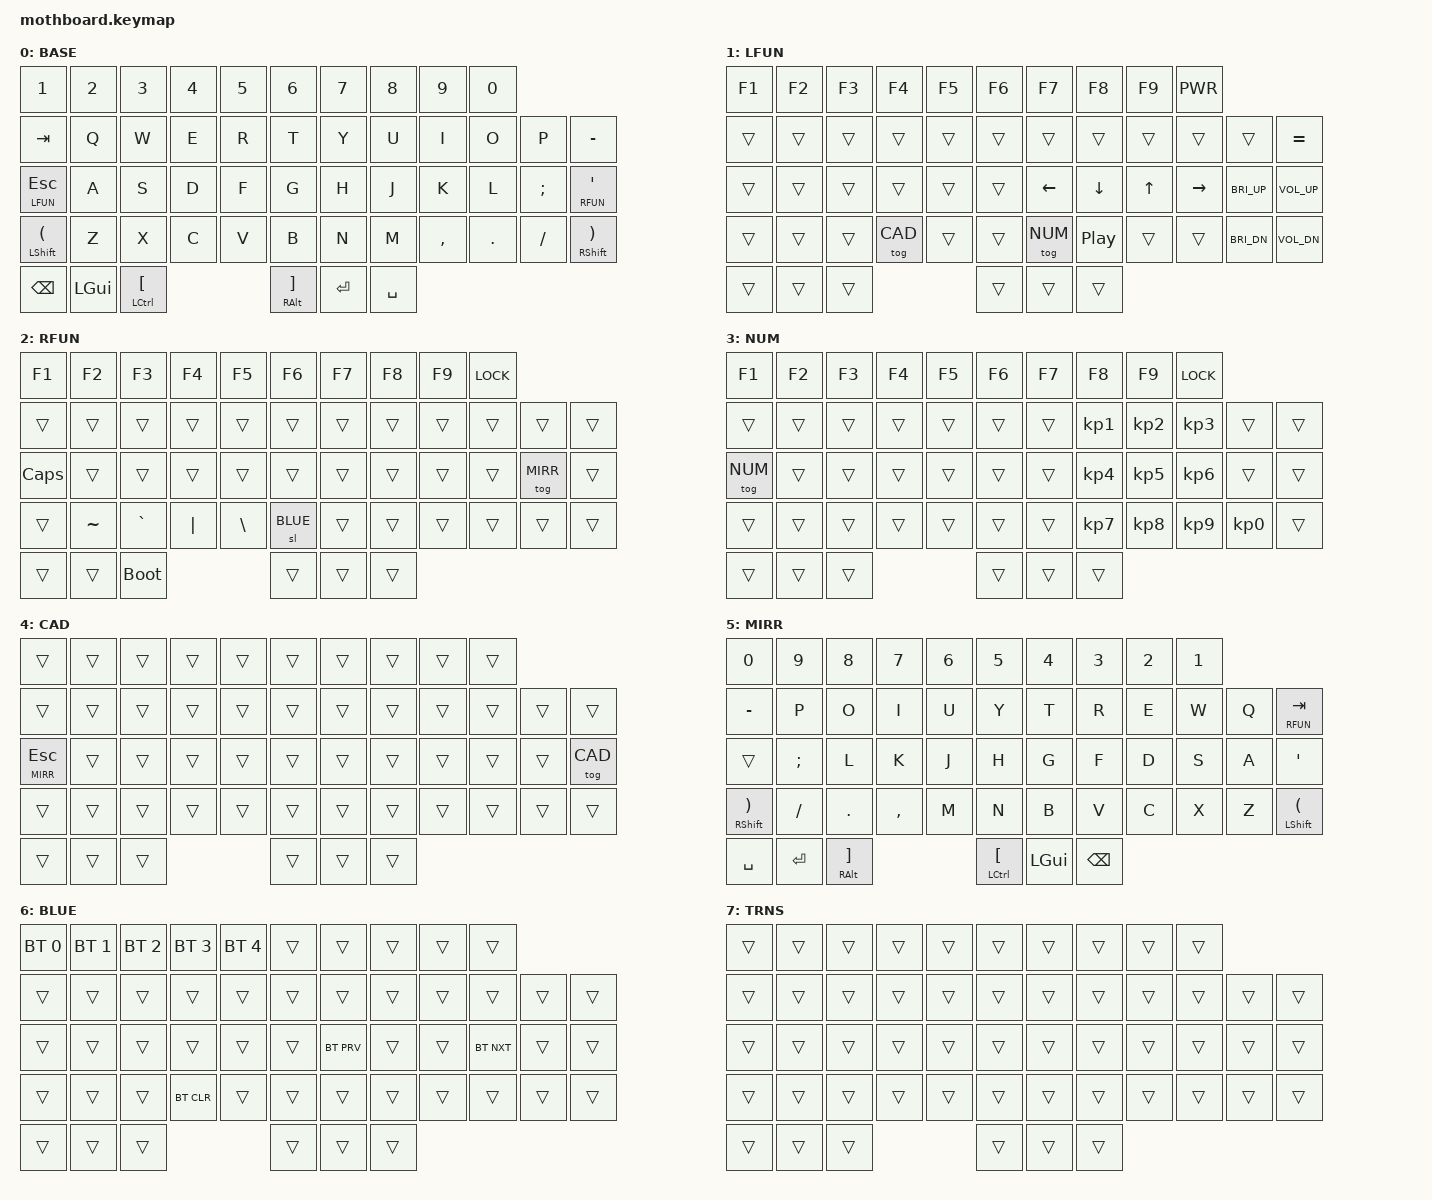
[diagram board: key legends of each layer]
#include <behaviors.dtsi>
#include <dt-bindings/zmk/keys.h>
#include <dt-bindings/zmk/bt.h>

#define BASE 0
#define LFUN 1
#define RFUN 2
#define NUM  3
#define CAD  4
#define MIRR 5
#define BLUE 6
#define TRNS 7


&sl {
    release-after-ms = <2000>;
};

/ {
	keymap {
		compatible = "zmk,keymap";

		default_layer {
			label="BASE";
			display-name="BASE";
			bindings = <
				&kp N1	&kp N2	&kp N3 	&kp N4	&kp N5		&kp N6	&kp N7	&kp N8	&kp N9	&kp N0
				&kp TAB	&kp Q	&kp W	&kp E	&kp R	&kp T		&kp Y	&kp U	&kp I	&kp O	&kp P 	&kp MINUS
				&lt LFUN ESC &kp A 	&kp S	&kp D	&kp F	&kp G		&kp H 	&kp J	&kp K	&kp L	&kp SEMI &lt RFUN APOS
				&mt LSHIFT LPAR &kp Z 	&kp X	&kp C	&kp V	&kp B		&kp N 	&kp M	&kp COMMA	&kp DOT	&kp FSLH &mt RSHIFT RPAR
				&kp BSPC &kp LGUI &mt LCTRL LBKT	&mt RALT RBKT &kp RET &kp SPACE
			>;
		};
		right_function_layer {
			label="LFUN";
			display-name="LFUN";
			bindings = <
				&kp F1	&kp F2	&kp F3 	&kp F4	&kp F5		&kp F6	&kp F7	&kp F8	&kp F9	&kp K_PWR
				&trans    &trans    &trans &trans    &trans    &trans &trans    &trans    &trans &trans &trans &kp EQUAL 
				&trans    &trans    &trans &trans    &trans    &trans		&kp LEFT  &kp DOWN	&kp UP	&kp RIGHT &kp C_BRI_UP &kp C_VOL_UP
				&trans    &trans    &trans &tog CAD    &trans    &trans &tog NUM    &kp C_PP    &trans &trans &kp C_BRI_DN &kp C_VOL_DN
				&trans &trans &trans &trans &trans &trans
			>;
		};
		left_function_layer {
			label="RFUN";
			display-name="RFUN";
			bindings = <
				&kp F1	&kp F2	&kp F3 	&kp F4	&kp F5		&kp F6	&kp F7	&kp F8	&kp F9	&kp K_LOCK
				&trans    &trans    &trans &trans    &trans    &trans &trans    &trans    &trans &trans &trans &trans
				&kp CAPS    &trans    &trans &trans    &trans    &trans &trans    &trans    &trans &trans &tog MIRR &trans
				&trans &kp TILDE &kp GRAVE    &kp PIPE    &kp BSLH &sl BLUE    &trans    &trans &trans    &trans    &trans &trans
				&trans &trans &bootloader &trans &trans &trans
			>;
		};
		number_layer {
			label="NUM";
			display-name="NUM";
			bindings = <	
				&kp F1	&kp F2	&kp F3 	&kp F4	&kp F5		&kp F6	&kp F7	&kp F8	&kp F9	&kp K_LOCK
				&trans &trans    &trans    &trans &trans &trans &trans  &kp KP_N1 &kp KP_N2 &kp KP_N3 &trans &trans
				&tog NUM &trans    &trans    &trans &trans &trans &trans  &kp KP_N4 &kp KP_N5 &kp KP_N6 &trans &trans
				&trans &trans    &trans    &trans &trans &trans &trans  &kp KP_N7 &kp KP_N8 &kp KP_N9 &kp KP_N0 &trans
				&trans    &trans    &trans &trans    &trans    &trans
			>;
		};
		cad_layer {
			label="CAD";
			display-name="CAD";
			bindings = <	
				    &trans    &trans &trans    &trans    &trans &trans    &trans    &trans &trans &trans
				&trans    &trans    &trans &trans    &trans    &trans &trans    &trans    &trans &trans &trans &trans
				&lt MIRR ESC    &trans    &trans &trans    &trans    &trans &trans    &trans    &trans &trans &trans &tog CAD
				&trans    &trans    &trans &trans    &trans    &trans &trans    &trans    &trans &trans &trans &trans
							&trans    &trans    &trans &trans    &trans    &trans
			>;
		};
		mirror_base_layer {
			label="MIRR";
			display-name="MIRR";
			bindings = <	
				&kp N0	&kp N9	&kp N8 	&kp N7	&kp N6			&kp N5	&kp N4	&kp N3	&kp N2	&kp N1
				&kp MINUS	&kp P	&kp O	&kp I	&kp U	&kp Y		&kp T	&kp R	&kp E	&kp W	&kp Q 	&lt RFUN TAB
				&trans &kp SEMI 	&kp L	&kp K	&kp J	&kp H	&kp G 	&kp F	&kp D	&kp S	&kp A &kp APOS
				&mt RSHIFT RPAR &kp FSLH	&kp DOT	&kp COMMA	&kp M	&kp N	&kp B 	&kp V	&kp C	&kp X	&kp Z &mt LSHIFT LPAR
				&kp SPACE &kp RET &mt RALT RBKT			&mt LCTRL LBKT &kp LGUI &kp BSPC
			>;
		};
		bluetooth_layer {
			label="BLUE";
			display-name="BLUE";
			bindings = <
				&bt BT_SEL 0	&bt BT_SEL 1	&bt BT_SEL 2 	&bt BT_SEL 3	&bt BT_SEL 4	&trans    &trans &trans &trans &trans
				&trans    &trans    &trans &trans    &trans    &trans &trans    &trans    &trans &trans &trans &trans
				&trans    &trans    &trans &trans    &trans    &trans &bt BT_PRV    &trans    &trans &bt BT_NXT &trans &trans
				&trans &trans &trans    &bt BT_CLR    &trans &trans    &trans    &trans &trans    &trans    &trans &trans
				&trans &trans &trans &trans &trans &trans
			>;
		};
		transparent_layer {
			label="TRNS";
			display-name="TRNS";
			bindings = <	
				    &trans    &trans &trans    &trans    &trans &trans    &trans    &trans &trans &trans
				&trans    &trans    &trans &trans    &trans    &trans &trans    &trans    &trans &trans &trans &trans
				&trans    &trans    &trans &trans    &trans    &trans &trans    &trans    &trans &trans &trans &trans
				&trans    &trans    &trans &trans    &trans    &trans &trans    &trans    &trans &trans &trans &trans
				&trans    &trans    &trans &trans    &trans    &trans
			>;
		};
	};
};
